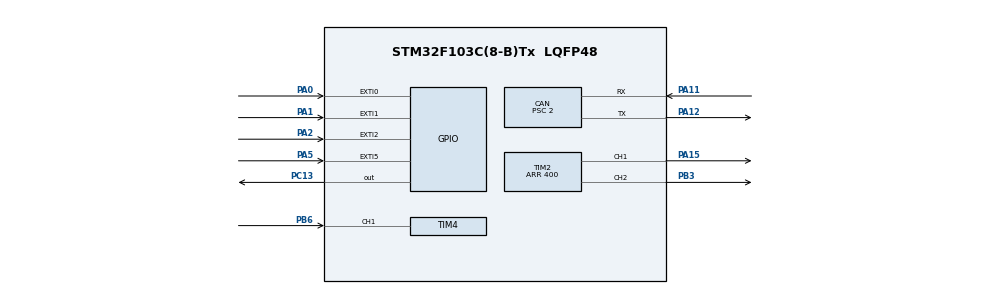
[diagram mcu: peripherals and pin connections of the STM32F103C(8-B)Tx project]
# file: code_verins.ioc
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CAN.BS1=CAN_BS1_2TQ
CAN.CalculateBaudRate=1000000
CAN.CalculateTimeBit=1000.00
CAN.CalculateTimeQuantum=250.0
CAN.Prescaler=2
Mcu.Family=STM32F1
Mcu.Name=STM32F103C(8-B)Tx
Mcu.Package=LQFP48
NVIC.EXTI0_IRQn=true\:0\:0\:false\:false\:true\:true\:true
NVIC.EXTI1_IRQn=true\:0\:0\:false\:false\:true\:true\:true
NVIC.EXTI2_IRQn=true\:0\:0\:false\:false\:true\:true\:true
NVIC.EXTI9_5_IRQn=true\:0\:0\:false\:false\:true\:true\:true
NVIC.PriorityGroup=NVIC_PRIORITYGROUP_4
NVIC.TIM4_IRQn=true\:1\:0\:true\:false\:true\:true\:true
NVIC.USB_LP_CAN1_RX0_IRQn=true\:0\:0\:false\:false\:true\:true\:true
PA0-WKUP.Signal=GPXTI0
PA1.Signal=GPXTI1
PA11.Mode=CAN_Activate
PA11.Signal=CAN_RX
PA12.Mode=CAN_Activate
PA12.Signal=CAN_TX
PA13.Mode=Serial_Wire
PA13.Signal=SYS_JTMS-SWDIO
PA14.Mode=Serial_Wire
PA14.Signal=SYS_JTCK-SWCLK
PA15.Signal=S_TIM2_CH1_ETR
PA2.Signal=GPXTI2
PA5.Signal=GPXTI5
PB3.Signal=S_TIM2_CH2
PB6.Signal=S_TIM4_CH1
PC13-TAMPER-RTC.Signal=GPIO_Output
PD0-OSC_IN.Mode=HSE-External-Oscillator
PD0-OSC_IN.Signal=RCC_OSC_IN
PD1-OSC_OUT.Mode=HSE-External-Oscillator
PD1-OSC_OUT.Signal=RCC_OSC_OUT
ProjectManager.HeapSize=0x200
ProjectManager.StackSize=0x400
ProjectManager.TargetToolchain=STM32CubeIDE
RCC.APB1Freq_Value=8000000
RCC.APB2Freq_Value=8000000
RCC.PLLSourceVirtual=RCC_PLLSOURCE_HSE
RCC.SYSCLKSource=RCC_SYSCLKSOURCE_HSE
RCC.USBFreq_Value=16000000
SH.S_TIM2_CH1_ETR.0=TIM2_CH1,PWM Generation1 CH1
SH.S_TIM2_CH2.0=TIM2_CH2,PWM Generation2 CH2
SH.S_TIM4_CH1.0=TIM4_CH1,Input_Capture1_from_TI1
TIM2.Channel-PWM\ Generation1\ CH1=TIM_CHANNEL_1
TIM2.Channel-PWM\ Generation2\ CH2=TIM_CHANNEL_2
TIM2.Period=400
TIM4.Channel-Input_Capture1_from_TI1=TIM_CHANNEL_1
TIM4.Period=4000
VP_TIM4_VS_ClockSourceINT.Mode=Internal
board=custom

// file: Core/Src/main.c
/* USER CODE BEGIN Header */
/**
  ******************************************************************************
  * @file           : main.c
  * @brief          : Main program body
  ******************************************************************************
  * @attention
  *
  * <h2><center>&copy; Copyright (c) 2021 STMicroelectronics.
  * All rights reserved.</center></h2>
  *
  * This software component is licensed by ST under BSD 3-Clause license,
  * the "License"; You may not use this file except in compliance with the
  * License. You may obtain a copy of the License at:
  *                        opensource.org/licenses/BSD-3-Clause
  *
  ******************************************************************************
  */
/* USER CODE END Header */
#include "main.h"
#include <math.h>

/* USER CODE BEGIN PM */
%%COUCOU
/* USER CODE END PM */

CAN_HandleTypeDef hcan;

TIM_HandleTypeDef htim2;
TIM_HandleTypeDef htim4;

/* USER CODE BEGIN PV */
uint16_t compteur_V1=0;
uint16_t pos_V1=0;
uint16_t envoi_pos_V1=0;
uint32_t cons_pos_V1=0;

uint16_t compteur_V2=0;
uint16_t pos_V2=0;
uint32_t envoi_pos_V2=0;
uint32_t cons_pos_V2=0;

uint8_t Poids;

uint8_t size=0;
uint8_t add=0;

uint8_t x1, x2;

CAN_TxHeaderTypeDef pHeader;
CAN_RxHeaderTypeDef pRxHeader;
uint32_t TxMailbox;
CAN_FilterTypeDef sFilterConfig;
/* USER CODE END PV */

void SystemClock_Config(void);
static void MX_GPIO_Init(void);
static void MX_CAN_Init(void);
static void MX_TIM2_Init(void);
static void MX_TIM4_Init(void);

int main(void)
{

  /* MCU Configuration--------------------------------------------------------*/

  /* Reset of all peripherals, Initializes the Flash interface and the Systick. */
  HAL_Init();

  /* Configure the system clock */
  SystemClock_Config();

  /* Initialize all configured peripherals */
  MX_GPIO_Init();
  MX_CAN_Init();
  MX_TIM2_Init();
  MX_TIM4_Init();
  /* USER CODE BEGIN 2 */

  pwm1(400);
  pwm2(400);
  HAL_Delay(12000);
  //pwm1(200);
  //pwm2(200);
  compteur_V1=20;
  cons_pos_V1=20;
  pos_V1=0;

  compteur_V2=0;
  cons_pos_V2=20;
  pos_V2=0;

  Poids=40;
  L_verins(Poids);
  HAL_TIM_Base_Start_IT(&htim4);
  config_CAN();
  /* USER CODE END 2 */

  /* Infinite loop */
  while (1)
  {

  }
}

void SystemClock_Config(void)
{
  RCC_OscInitTypeDef RCC_OscInitStruct = {0};
  RCC_ClkInitTypeDef RCC_ClkInitStruct = {0};

  /** Initializes the RCC Oscillators according to the specified parameters
  * in the RCC_OscInitTypeDef structure.
  */
  RCC_OscInitStruct.OscillatorType = RCC_OSCILLATORTYPE_HSE;
  RCC_OscInitStruct.HSEState = RCC_HSE_ON;
  RCC_OscInitStruct.PLL.PLLState = RCC_PLL_NONE;
  if (HAL_RCC_OscConfig(&RCC_OscInitStruct) != HAL_OK)
  {
    Error_Handler();
  }
  /** Initializes the CPU, AHB and APB buses clocks
  */
  RCC_ClkInitStruct.ClockType = RCC_CLOCKTYPE_HCLK|RCC_CLOCKTYPE_SYSCLK
                              |RCC_CLOCKTYPE_PCLK1|RCC_CLOCKTYPE_PCLK2;
  RCC_ClkInitStruct.SYSCLKSource = RCC_SYSCLKSOURCE_HSE;
  RCC_ClkInitStruct.AHBCLKDivider = RCC_SYSCLK_DIV1;
  RCC_ClkInitStruct.APB1CLKDivider = RCC_HCLK_DIV1;
  RCC_ClkInitStruct.APB2CLKDivider = RCC_HCLK_DIV1;

  if (HAL_RCC_ClockConfig(&RCC_ClkInitStruct, FLASH_LATENCY_0) != HAL_OK)
  {
    Error_Handler();
  }
}

static void MX_CAN_Init(void)
{

  hcan.Instance = CAN1;
  hcan.Init.Prescaler = 2;
  hcan.Init.Mode = CAN_MODE_NORMAL;
  hcan.Init.SyncJumpWidth = CAN_SJW_1TQ;
  hcan.Init.TimeSeg1 = CAN_BS1_2TQ;
  hcan.Init.TimeSeg2 = CAN_BS2_1TQ;
  hcan.Init.TimeTriggeredMode = DISABLE;
  hcan.Init.AutoBusOff = DISABLE;
  hcan.Init.AutoWakeUp = DISABLE;
  hcan.Init.AutoRetransmission = DISABLE;
  hcan.Init.ReceiveFifoLocked = DISABLE;
  hcan.Init.TransmitFifoPriority = DISABLE;
  if (HAL_CAN_Init(&hcan) != HAL_OK)
  {
    Error_Handler();
  }

}

static void MX_TIM2_Init(void)
{

  TIM_MasterConfigTypeDef sMasterConfig = {0};
  TIM_OC_InitTypeDef sConfigOC = {0};

  htim2.Instance = TIM2;
  htim2.Init.Prescaler = 0;
  htim2.Init.CounterMode = TIM_COUNTERMODE_UP;
  htim2.Init.Period = 400;
  htim2.Init.ClockDivision = TIM_CLOCKDIVISION_DIV1;
  htim2.Init.AutoReloadPreload = TIM_AUTORELOAD_PRELOAD_DISABLE;
  if (HAL_TIM_PWM_Init(&htim2) != HAL_OK)
  {
    Error_Handler();
  }
  sMasterConfig.MasterOutputTrigger = TIM_TRGO_RESET;
  sMasterConfig.MasterSlaveMode = TIM_MASTERSLAVEMODE_DISABLE;
  if (HAL_TIMEx_MasterConfigSynchronization(&htim2, &sMasterConfig) != HAL_OK)
  {
    Error_Handler();
  }
  sConfigOC.OCMode = TIM_OCMODE_PWM1;
  sConfigOC.Pulse = 0;
  sConfigOC.OCPolarity = TIM_OCPOLARITY_HIGH;
  sConfigOC.OCFastMode = TIM_OCFAST_DISABLE;
  if (HAL_TIM_PWM_ConfigChannel(&htim2, &sConfigOC, TIM_CHANNEL_1) != HAL_OK)
  {
    Error_Handler();
  }
  if (HAL_TIM_PWM_ConfigChannel(&htim2, &sConfigOC, TIM_CHANNEL_2) != HAL_OK)
  {
    Error_Handler();
  }
  HAL_TIM_MspPostInit(&htim2);

}

static void MX_TIM4_Init(void)
{

  TIM_ClockConfigTypeDef sClockSourceConfig = {0};
  TIM_MasterConfigTypeDef sMasterConfig = {0};
  TIM_IC_InitTypeDef sConfigIC = {0};

  htim4.Instance = TIM4;
  htim4.Init.Prescaler = 0;
  htim4.Init.CounterMode = TIM_COUNTERMODE_UP;
  htim4.Init.Period = 4000;
  htim4.Init.ClockDivision = TIM_CLOCKDIVISION_DIV1;
  htim4.Init.AutoReloadPreload = TIM_AUTORELOAD_PRELOAD_DISABLE;
  if (HAL_TIM_Base_Init(&htim4) != HAL_OK)
  {
    Error_Handler();
  }
  sClockSourceConfig.ClockSource = TIM_CLOCKSOURCE_INTERNAL;
  if (HAL_TIM_ConfigClockSource(&htim4, &sClockSourceConfig) != HAL_OK)
  {
    Error_Handler();
  }
  if (HAL_TIM_IC_Init(&htim4) != HAL_OK)
  {
    Error_Handler();
  }
  sMasterConfig.MasterOutputTrigger = TIM_TRGO_RESET;
  sMasterConfig.MasterSlaveMode = TIM_MASTERSLAVEMODE_DISABLE;
  if (HAL_TIMEx_MasterConfigSynchronization(&htim4, &sMasterConfig) != HAL_OK)
  {
    Error_Handler();
  }
  sConfigIC.ICPolarity = TIM_INPUTCHANNELPOLARITY_RISING;
  sConfigIC.ICSelection = TIM_ICSELECTION_DIRECTTI;
  sConfigIC.ICPrescaler = TIM_ICPSC_DIV1;
  sConfigIC.ICFilter = 0;
  if (HAL_TIM_IC_ConfigChannel(&htim4, &sConfigIC, TIM_CHANNEL_1) != HAL_OK)
  {
    Error_Handler();
  }

}

static void MX_GPIO_Init(void)
{
  GPIO_InitTypeDef GPIO_InitStruct = {0};

  /* GPIO Ports Clock Enable */
  __HAL_RCC_GPIOC_CLK_ENABLE();
  __HAL_RCC_GPIOD_CLK_ENABLE();
  __HAL_RCC_GPIOA_CLK_ENABLE();
  __HAL_RCC_GPIOB_CLK_ENABLE();

  /*Configure GPIO pin Output Level */
  HAL_GPIO_WritePin(GPIOC, GPIO_PIN_13, GPIO_PIN_RESET);

  /*Configure GPIO pin : PC13 */
  GPIO_InitStruct.Pin = GPIO_PIN_13;
  GPIO_InitStruct.Mode = GPIO_MODE_OUTPUT_PP;
  GPIO_InitStruct.Pull = GPIO_NOPULL;
  GPIO_InitStruct.Speed = GPIO_SPEED_FREQ_LOW;
  HAL_GPIO_Init(GPIOC, &GPIO_InitStruct);

  /*Configure GPIO pins : PA0 PA1 PA2 PA5 */
  GPIO_InitStruct.Pin = GPIO_PIN_0|GPIO_PIN_1|GPIO_PIN_2|GPIO_PIN_5;
  GPIO_InitStruct.Mode = GPIO_MODE_IT_RISING;
  GPIO_InitStruct.Pull = GPIO_NOPULL;
  HAL_GPIO_Init(GPIOA, &GPIO_InitStruct);

  /* EXTI interrupt init*/
  HAL_NVIC_SetPriority(EXTI0_IRQn, 0, 0);
  HAL_NVIC_EnableIRQ(EXTI0_IRQn);

  HAL_NVIC_SetPriority(EXTI1_IRQn, 0, 0);
  HAL_NVIC_EnableIRQ(EXTI1_IRQn);

  HAL_NVIC_SetPriority(EXTI2_IRQn, 0, 0);
  HAL_NVIC_EnableIRQ(EXTI2_IRQn);

  HAL_NVIC_SetPriority(EXTI9_5_IRQn, 0, 0);
  HAL_NVIC_EnableIRQ(EXTI9_5_IRQn);

}

/* USER CODE BEGIN 4 */

void L_verins(uint8_t Poids)
{

	cons_pos_V1=-0.008919877*Poids*Poids+2.3423953*Poids-72.71850091;
    if(cons_pos_V1<=5){cons_pos_V1=5;}
    if(cons_pos_V1>=80){cons_pos_V1=80;}
    if(Poids<35){cons_pos_V1=5;}
    if(Poids>130){cons_pos_V1=80;}
    x1=cons_pos_V1;
    cons_pos_V1=cons_pos_V1*161;
    cons_pos_V1=cons_pos_V1/100;
    cons_pos_V1=cons_pos_V1+20;

	if(Poids<=82)
	{
		cons_pos_V2=0.000605245098698*Poids*Poids*Poids-0.113250626598843*Poids*Poids+5.645875563937792*Poids-19.837324155779726;
	}
	else
	{
		cons_pos_V2=-0.001345350892*Poids*Poids*Poids+0.412819110815*Poids*Poids-39.612949625597*Poids+1228.795185171463;
	}
	if(Poids<35){cons_pos_V2=65;}
	if(Poids>130){cons_pos_V2=95;}

    if(cons_pos_V2<=5){cons_pos_V2=5;}
    if(cons_pos_V2>=95){cons_pos_V2=95;}
    x2=cons_pos_V2;
    cons_pos_V2=cons_pos_V2*1277;
    cons_pos_V2=cons_pos_V2/100;
    cons_pos_V2=cons_pos_V2+20;
}

void pwm1(int pwm)
{
	TIM_OC_InitTypeDef sConfigOC;

    HAL_TIM_PWM_Stop(&htim2, TIM_CHANNEL_1);
    sConfigOC.OCMode = TIM_OCMODE_PWM1;
    sConfigOC.Pulse = pwm;
    sConfigOC.OCPolarity = TIM_OCPOLARITY_HIGH;
    sConfigOC.OCFastMode = TIM_OCFAST_DISABLE;
    HAL_TIM_PWM_ConfigChannel(&htim2, &sConfigOC, TIM_CHANNEL_1);
    HAL_TIM_PWM_Start(&htim2, TIM_CHANNEL_1);
}

void pwm2(int pwm)
{
	TIM_OC_InitTypeDef sConfigOC;

    HAL_TIM_PWM_Stop(&htim2, TIM_CHANNEL_2);
    sConfigOC.OCMode = TIM_OCMODE_PWM1;
    sConfigOC.Pulse = pwm;
    sConfigOC.OCPolarity = TIM_OCPOLARITY_HIGH;
    sConfigOC.OCFastMode = TIM_OCFAST_DISABLE;
    HAL_TIM_PWM_ConfigChannel(&htim2, &sConfigOC, TIM_CHANNEL_2);
    HAL_TIM_PWM_Start(&htim2, TIM_CHANNEL_2);
}

void config_CAN(void)
{
	  pHeader.DLC=3;
	  pHeader.IDE=CAN_ID_STD;
	  pHeader.RTR=CAN_RTR_DATA;
	  pHeader.StdId=0x244;

	  sFilterConfig.FilterFIFOAssignment=CAN_RX_FIFO0;
	  sFilterConfig.FilterIdHigh=0x245<<5;
	  sFilterConfig.FilterIdLow=0;
	  sFilterConfig.FilterMaskIdHigh=0;
	  sFilterConfig.FilterMaskIdLow=0;
	  sFilterConfig.FilterScale=CAN_FILTERSCALE_32BIT;
	  sFilterConfig.FilterActivation=ENABLE;

	  HAL_CAN_ConfigFilter(&hcan, &sFilterConfig);

	  HAL_CAN_Start(&hcan);
	  HAL_CAN_ActivateNotification(&hcan, CAN_IT_RX_FIFO0_MSG_PENDING);
}

void transmit_CAN(uint32_t addr, uint32_t data_size, uint8_t * tab_data)
{
    pHeader.StdId = addr;
    pHeader.DLC = data_size;

    HAL_CAN_AddTxMessage(&hcan, &pHeader, tab_data, &TxMailbox);
}

void recup_CAN(uint8_t * tab2_data)
{
	HAL_CAN_GetRxMessage(&hcan, CAN_RX_FIFO0, &pRxHeader, tab2_data);
	size=pRxHeader.DLC;
	add=pRxHeader.StdId;
}
/* USER CODE END 4 */

void Error_Handler(void)
{
  __disable_irq();
  while (1)
  {
  }
}

/************************ (C) COPYRIGHT STMicroelectronics *****END OF FILE****/
